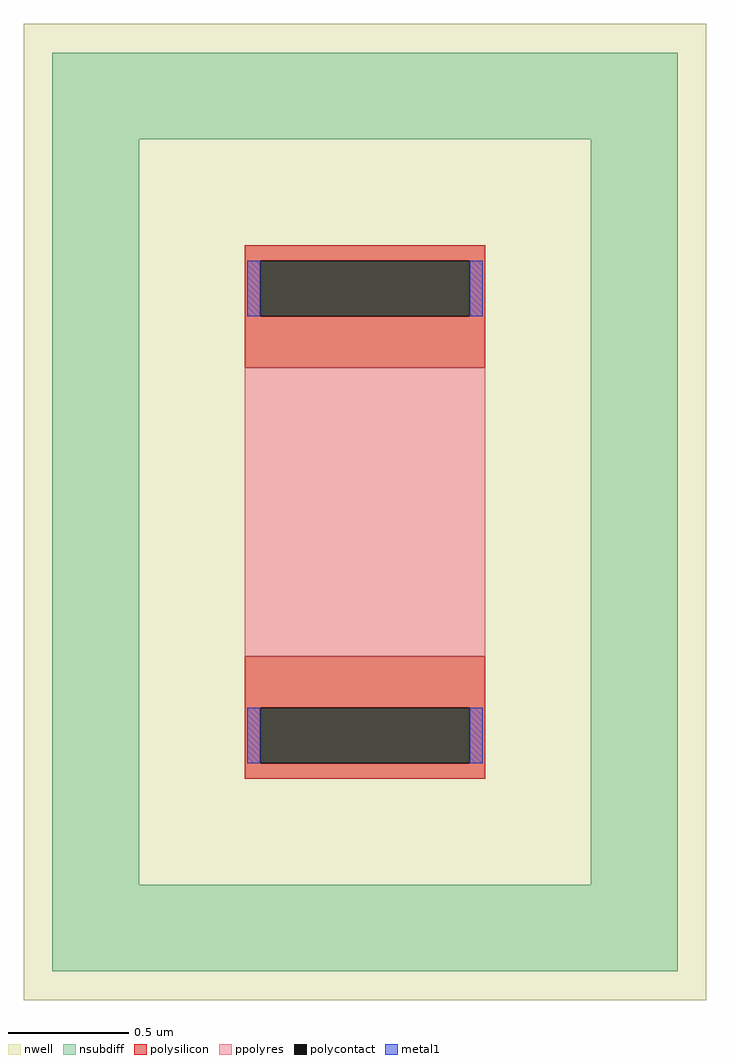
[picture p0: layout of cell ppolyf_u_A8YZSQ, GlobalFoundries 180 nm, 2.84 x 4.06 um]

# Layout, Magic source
magic
tech gf180mcuC
magscale 1 10
<< nwell >>
rect -284 -406 284 406
<< nsubdiff >>
rect -260 310 260 382
rect -260 -310 -188 310
rect 188 -310 260 310
rect -260 -382 260 -310
<< polysilicon >>
rect -100 209 100 222
rect -100 163 -87 209
rect 87 163 100 209
rect -100 120 100 163
rect -100 -163 100 -120
rect -100 -209 -87 -163
rect 87 -209 100 -163
rect -100 -222 100 -209
<< polycontact >>
rect -87 163 87 209
rect -87 -209 87 -163
<< ppolyres >>
rect -100 -120 100 120
<< metal1 >>
rect -98 163 -87 209
rect 87 163 98 209
rect -98 -209 -87 -163
rect 87 -209 98 -163
<< properties >>
string FIXED_BBOX -224 -346 224 346
string gencell ppolyf_u
string library gf180mcu
string parameters w 1.0 l 1.2 m 1 nx 1 wmin 0.80 lmin 1.00 rho 315 val 406.451 dummy 0 dw 0.07 term 0.0 sterm 0.0 caplen 0.4 snake 0 glc 0 grc 0 gtc 0 gbc 0 roverlap 0 endcov 100 full_metal 0
<< end >>
